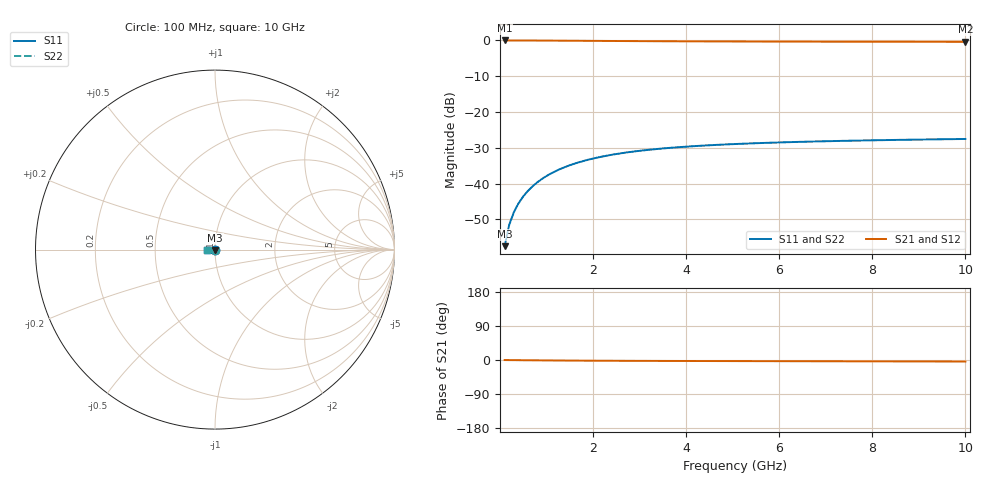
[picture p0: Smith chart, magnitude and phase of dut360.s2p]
! Touchstone file exported from HFSS 2024.1.0
!  File:  C:/UserFiles/LocalFiles/RDL_TSV_Batchsim/temp_TSV1_360_1779620990.aedt
!  Generated:  07:18:31 PM May 24, 2026
!  Design:  TSV1
!  Project:  temp_TSV1_360_1779620990
!  Setup:  Setup1
!  Solution:  Sweep
! Variables:
!  dtsv = 12.54um
!  hbump = 3um
!  htsv = 60.59um
!  lrdl = 252.1521522um
!  p = 40
!  p1 = 53.12um
!  t = 500um
!  trdl = 3um
!  wrdl = 24.89489489um
# GHz S MA R 50.000000
! Terminal data exported
! Port[1] = TSV22_T1
! Port[2] = TSV22_T2
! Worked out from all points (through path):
!   100 points, 100 MHz to 10 GHz, reference 50 ohm
!   highest |S21| = 0.00 dB at 100 MHz (marker M1); lowest = -0.4 dB at 10 GHz (marker M2)
!   lowest |S11| = -57.5 dB at 100 MHz (marker M3), VSWR 1.00, Z = 50 - j0.134 ohm
!   |S11| at or under -10 dB: start of sweep to end of sweep
!   |S22| runs from -57.5 to -27.5 dB; largest |S21 - S12| = 4.2e-15
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0.1  0.001341 -88.7  0.9999 -0.1  0.9999 -0.1  0.001341 -88.7
! Gamma 0 0 0 0
! Port Impedance 50 0 50 0
0.2  0.002677 -92.3  0.9997 -0.2  0.9997 -0.2  0.002677 -92.3
0.3  0.00401 -94.8  0.9995 -0.4  0.9995 -0.4  0.00401 -94.8
0.4  0.005332 -97.1  0.9991 -0.5  0.9991 -0.5  0.005332 -97.1
0.5  0.006638 -99.2  0.9987 -0.6  0.9987 -0.6  0.006638 -99.2
0.6  0.007923 -101.3  0.9982 -0.7  0.9982 -0.7  0.007923 -101.3
0.7  0.009184 -103.4  0.9976 -0.8  0.9976 -0.8  0.009184 -103.4
0.8  0.01042 -105.3  0.997 -0.9  0.997 -0.9  0.01042 -105.3
0.9  0.01162 -107.3  0.9963 -1.0  0.9963 -1.0  0.01162 -107.3
1.1  0.01392 -111.0  0.9948 -1.2  0.9948 -1.2  0.01392 -111.0
1.4  0.0171 -116.3  0.9922 -1.4  0.9922 -1.4  0.0171 -116.3
1.6  0.01902 -119.6  0.9904 -1.6  0.9904 -1.6  0.01902 -119.6
1.8  0.0208 -122.8  0.9886 -1.7  0.9886 -1.7  0.0208 -122.8
2.1  0.0232 -127.1  0.9858 -1.9  0.9858 -1.9  0.0232 -127.1
2.5  0.02595 -132.3  0.9824 -2.1  0.9824 -2.1  0.02595 -132.3
2.9  0.02825 -136.9  0.9792 -2.3  0.9792 -2.3  0.02825 -136.9
3.4  0.03061 -142.0  0.9757 -2.4  0.9757 -2.4  0.03061 -142.0
4.2  0.03351 -148.8  0.9711 -2.7  0.9711 -2.7  0.03351 -148.8
5.1  0.03588 -155.1  0.9672 -2.9  0.9672 -2.9  0.03588 -155.1
6.7  0.03874 -163.8  0.9623 -3.3  0.9623 -3.3  0.03874 -163.8
8.4  0.04073 -171.0  0.959 -3.7  0.959 -3.7  0.04073 -171.0
10  0.0421 -176.6  0.9569 -4.1  0.9569 -4.1  0.0421 -176.6
